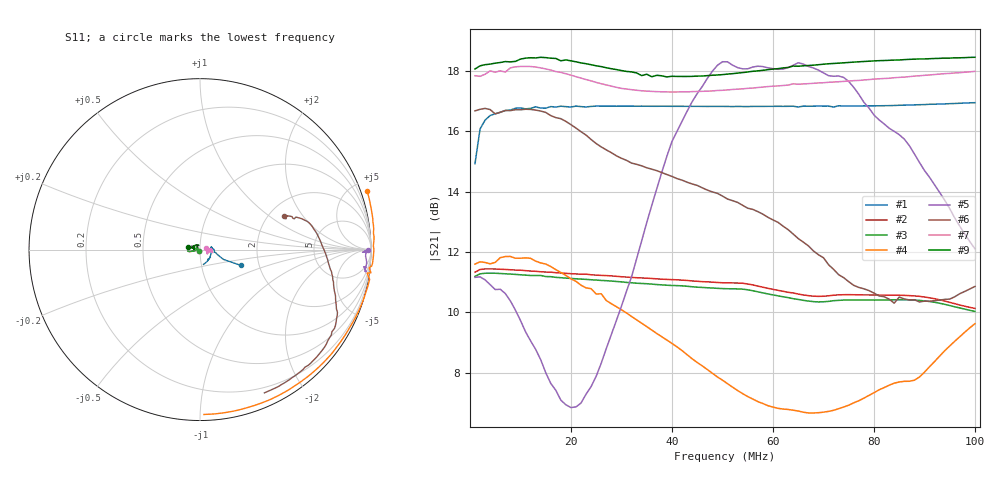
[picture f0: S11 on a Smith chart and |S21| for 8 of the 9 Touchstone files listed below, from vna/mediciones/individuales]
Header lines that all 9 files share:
# HZ S RI R 50
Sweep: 1 MHz to 100 MHz
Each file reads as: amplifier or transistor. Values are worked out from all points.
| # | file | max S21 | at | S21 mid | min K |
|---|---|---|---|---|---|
| 1 | bga616_a_5v.s2p | 17.0 dB | 100 MHz | 16.8 dB at 51 MHz | 1.24 |
| 2 | fca_cha_00.s2p | 11.4 dB | 4 MHz | 11.0 dB at 51 MHz | - |
| 3 | fca_chb_00.s2p | 11.3 dB | 4 MHz | 10.8 dB at 51 MHz | 3.53 |
| 4 | lmh34400_pd.s2p | 11.9 dB | 8 MHz | 7.6 dB at 51 MHz | -130.16 |
| 5 | lmh34400_pd_new.s2p | 18.3 dB | 50 MHz | 18.3 dB at 51 MHz | - |
| 6 | tia_ltc_pd.s2p | 16.8 dB | 3 MHz | 13.8 dB at 51 MHz | 5.04 |
| 7 | tx_amp_a_10v.s2p | 18.2 dB | 11 MHz | 17.4 dB at 51 MHz | - |
| 8 | tx_amp_b_10v.s2p | 18.2 dB | 11 MHz | 17.4 dB at 51 MHz | - |
| 9 | tx_amp_b_12v.s2p | 18.5 dB | 100 MHz | 17.9 dB at 51 MHz | 1.69 |
